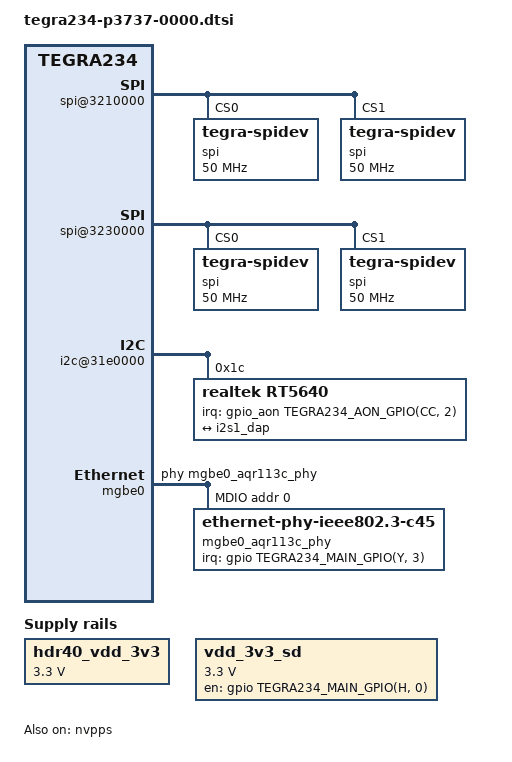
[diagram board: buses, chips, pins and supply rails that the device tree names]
// SPDX-License-Identifier: GPL-2.0-only
// SPDX-FileCopyrightText: Copyright (c) 2022-2026, NVIDIA CORPORATION & AFFILIATES.  All rights reserved.

/ {
	bus@0 {
		spi@3210000{ /* SPI1 in 40 pin conn */
			status = "okay";
			spi@0 { /* chip select 0 */
				compatible = "tegra-spidev";
				reg = <0x0>;
				spi-max-frequency = <50000000>;
			};
			spi@1 { /* chips select 1 */
				compatible = "tegra-spidev";
				reg = <0x1>;
				spi-max-frequency = <50000000>;
			};
		};

		spi@3230000{ /* SPI3 in 40 pin conn */
			status = "okay";
			spi@0 { /* chip select 0 */
				compatible = "tegra-spidev";
				reg = <0x0>;
				spi-max-frequency = <50000000>;
			};
			spi@1 { /* chips select 1 */
				compatible = "tegra-spidev";
				reg = <0x1>;
				spi-max-frequency = <50000000>;
			};
		};

		mmc@3400000 {
			vmmc-supply = <&vdd_3v3_sd>;
		};

		padctl@3520000 {
			ports {
				usb2-0 {
					mode = "otg";
					usb-role-switch;
				};
			};
		};

		aconnect@2900000 {
			ahub@2900800 {
				i2s@2901000 {
					ports {
						port@1 {
							endpoint {
								// /delete-property/ remote-endpoint;
								dai-format = "i2s";
								remote-endpoint = <&rt5640_ep>;
							};
						};
					};
				};

				i2s@2901100 {
					ports {
						port@1 {
							hdr40_snd_i2s_dap_ep: endpoint {
							};
						};
					};
				};
			};
		};

		i2c@31e0000 { //i2c9 A53 C53
			status = "okay";

			rt5640:audio-codec@1c {
				compatible = "realtek,rt5640";
				reg = <0x1c>;
				interrupt-parent = <&gpio_aon>;
				interrupts = <TEGRA234_AON_GPIO(CC, 2) GPIO_ACTIVE_HIGH>;
				clocks = <&bpmp TEGRA234_CLK_AUD_MCLK>;
				clock-names = "mclk";
				realtek,dmic1-data-pin = <RT5640_DMIC1_DATA_PIN_NONE>;
				realtek,dmic2-data-pin = <RT5640_DMIC2_DATA_PIN_NONE>;
				realtek,jack-detect-source = <RT5640_JD_SRC_HDA_HEADER>;
				sound-name-prefix = "CVB-RT";
				#sound-dai-cells = <1>;
                status = "okay";
				port {
					rt5640_ep: endpoint {
						link-name = "rt5640-playback";
						remote-endpoint = <&i2s1_dap>;
						mclk-fs = <256>;
					};
				};
			};
		};

		mgbe0: ethernet@6800000 {
			nvidia,mac-addr-idx = <0>;
			nvidia,max-platform-mtu = <16383>;
			/* 1=enable, 0=disable */
			nvidia,pause_frames = <1>;
			phy-handle = <&mgbe0_aqr113c_phy>;
			/* 0:XFI 10G, 1:XFI 5G, 2:USXGMII 10G, 3:USXGMII 5G */
			nvidia,phy-iface-mode = <0>;
			nvidia,phy-reset-gpio = <&gpio TEGRA234_MAIN_GPIO(Y, 1) 0>;
			nvidia,mdio_addr = <0>;
			//nvidia,pps_op_ctrl = <4>;

			mdio {
				compatible = "nvidia,eqos-mdio";
				#address-cells = <1>;
				#size-cells = <0>;

				mgbe0_aqr113c_phy: phy@0 {
					compatible = "ethernet-phy-ieee802.3-c45";
					reg = <0x0>;
					nvidia,phy-rst-pdelay-msec = <150>; /* msec */
					nvidia,phy-rst-duration-usec = <221000>; /* usec */
					interrupt-parent = <&gpio>;
					interrupts = <TEGRA234_MAIN_GPIO(Y, 3) IRQ_TYPE_LEVEL_LOW>;
					aquantia,led-mode = <0 0xe0ef 1 0x2023 2 0xc0c3>;
				};
			};
		};

		nvpps {
			status = "okay";
			compatible = "nvidia,tegra234-nvpps";
			primary-emac = <&mgbe0>;
			ptp_tsc_sync_trig_interval = <3>;
			ptp_tsc_lock_threshold = <20000>; //20us
			ts-capture-interval = <1000>;
			nvpps-event-mode-init = <2>; /* 1: GPIO mode, 2: TIMER mode */
			reg = <0x0 0xc6a0000 0x0 0x1000>;
		};
	};

	hdr40_vdd_3v3: regulator@3 {
		compatible = "regulator-fixed";
		regulator-name = "vdd-3v3-sys";
		regulator-min-microvolt = <3300000>;
		regulator-max-microvolt = <3300000>;
	};

	/* TSC signal generator for cam_fsync (external fsync) - used by SIPL without camera overlay */
	tsc_sig_gen@c6a0000 {
		status = "okay";
		generator@380 {
			status = "okay";
		};
		fsync-groups {
			status = "disabled";
		};
	};

	tegra_sound: sound {
		compatible = "nvidia,tegra186-audio-graph-card",
			     "nvidia,tegra186-ape";
		clocks = <&bpmp TEGRA234_CLK_PLLA>,
			 <&bpmp TEGRA234_CLK_PLLA_OUT0>,
			 <&bpmp TEGRA234_CLK_AUD_MCLK>;
		clock-names = "pll_a", "plla_out0", "extern1";
		assigned-clocks = <&bpmp TEGRA234_CLK_AUD_MCLK>;
		assigned-clock-parents = <&bpmp TEGRA234_CLK_PLLA_OUT0>;

		nvidia-audio-card,mclk-fs = <256>;
		nvidia-audio-card,name = "NVIDIA Jetson AGX Orin APE";

		/delete-property/ widgets;
		/delete-property/ routing;

				//hdr40_snd_link_i2s: nvidia-audio-card,dai-link@77 { };
		 widgets =
                        "Headphone",    "CVB-RT Headphone Jack",
                        "Microphone",   "CVB-RT Mic Jack",
                        "Speaker",      "CVB-RT Int Spk",
                        "Microphone",   "CVB-RT Int Mic";

        routing =
						"CVB-RT AIF1 Playback", "I2S1 DAP-Playback",
						"I2S1 DAP-Capture",     "CVB-RT AIF1 Capture",
                        "CVB-RT Headphone Jack",     "CVB-RT HPOL",
                        "CVB-RT Headphone Jack",     "CVB-RT HPOR",
                        "CVB-RT IN1P",               "CVB-RT Mic Jack",
                        "CVB-RT IN2P",               "CVB-RT Mic Jack",
                        "CVB-RT IN2N",               "CVB-RT Mic Jack",
                        "CVB-RT Int Spk",            "CVB-RT SPOLP",
                        "CVB-RT Int Spk",            "CVB-RT SPORP",
                        "CVB-RT Int Spk",            "CVB-RT LOUTL",
                        "CVB-RT Int Spk",            "CVB-RT LOUTR",
                        "CVB-RT DMIC1",              "CVB-RT Int Mic",
                        "CVB-RT DMIC2",              "CVB-RT Int Mic";

                nvidia-audio-card,dai-link@76 {
                        link-name = "rt5640-playback";
                        codec {
                                sound-dai = <&rt5640 0>;
                                prefix = "CVB-RT";
                        };
                };
	};

	eeprom-manager {
		data-size = <0x100>;
		bus@0 {
			i2c-bus = <&gen1_i2c>;
			eeprom@1 {
				slave-address = <0x56>;
				label = "cvb";
			};
		};
		bus@1 {
			i2c-bus = <&cam_i2c>;
			eeprom@0 {
				slave-address = <0x54>;
				label = "sensor0";
			};
			eeprom@1 {
				slave-address = <0x57>;
				label = "sensor1";
			};
			eeprom@2 {
				slave-address = <0x52>;
				label = "sensor2";
			};
		};
	};

	vdd_3v3_sd: regulator-vdd-3v3-sd {
			compatible = "regulator-fixed";
			regulator-name = "VDD_3V3_SD";
			regulator-min-microvolt = <3300000>;
			regulator-max-microvolt = <3300000>;
			gpio = <&gpio TEGRA234_MAIN_GPIO(H, 0) GPIO_ACTIVE_HIGH>;
			enable-active-high;
			regulator-boot-on;
			startup-delay-us = <200000>;
			off-on-delay-us = <200000>;
	};
};
